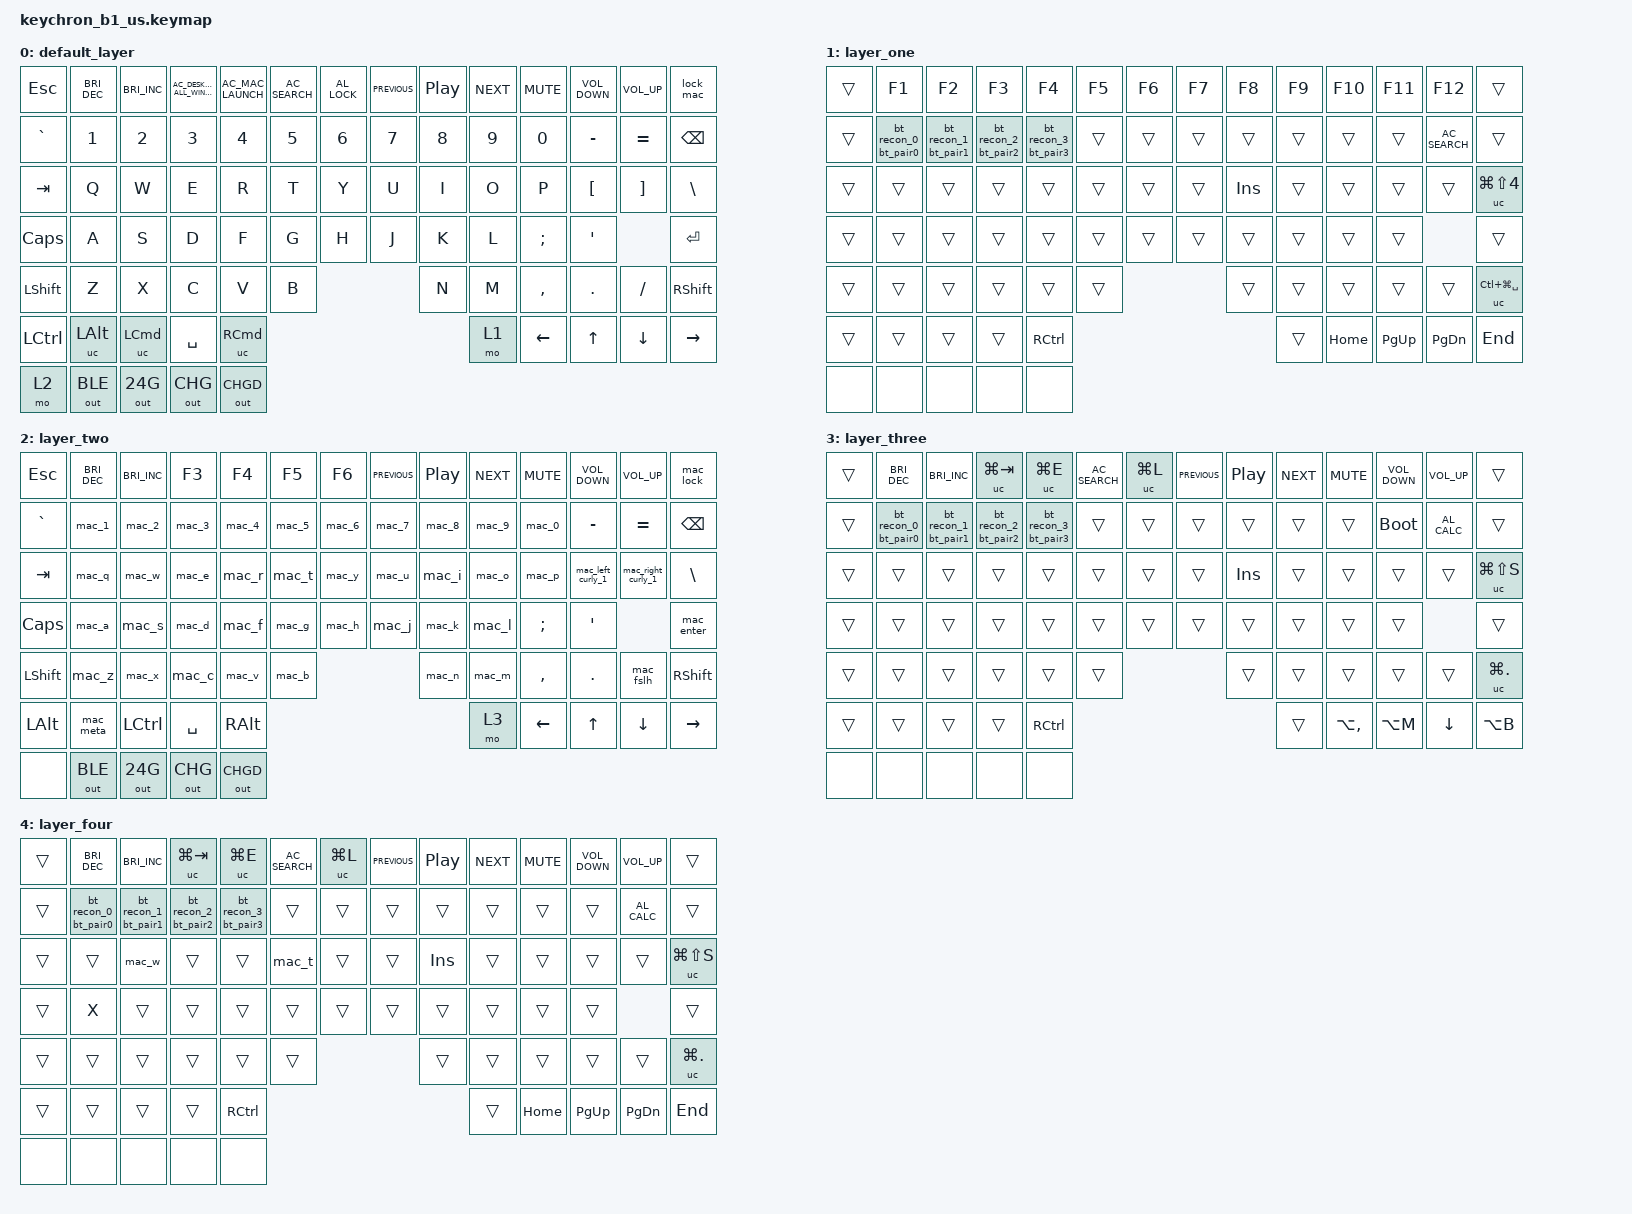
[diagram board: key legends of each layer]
/*
 * Copyright (c) 2023 The ZMK Contributors
 *
 * SPDX-License-Identifier: MIT
 */

#include <behaviors.dtsi>
#include <dt-bindings/zmk/keys.h>
#include <dt-bindings/zmk/rgb.h>
#include <dt-bindings/zmk/bt.h>
#include <dt-bindings/zmk/outputs.h>

/ {
    ZMK_MACRO(recover, bindings = <&out OUT_RECOVER>;)
    ZMK_MACRO(change, bindings = <&out OUT_FN>;)
    ZMK_MACRO(fn_win, bindings = <&out OUT_FN_WIN>;)

    ZMK_MACRO(en_bootloader, bindings = <&bootloader>;)
    ZMK_MACRO1(MA,bindings=<&kp 0x770000>;)

    long_press_recover:l1 {
        compatible = "zmk,behavior-hold-tap";
        label = "l1";
        #binding-cells = <2>;
        flavor = "tap-preferred";
        tapping-term-ms = <3000>;  // delay amount in ms
        bindings = <&recover>, <&none>;
    };

    long_press_change:l2{
        compatible = "zmk,behavior-hold-tap";
        label = "lp_change";
        #binding-cells = <2>;
        flavor = "tap-preferred";
        tapping-term-ms = <3000>;  // delay amount in ms
        bindings = <&change>, <&none>;
    };
    long_press_bootloader:l3{
        compatible = "zmk,behavior-hold-tap";
        label = "lp_bootloader";
        #binding-cells = <2>;
        flavor = "tap-preferred";
        tapping-term-ms = <3000>;  // delay amount in ms
        bindings = <&en_bootloader>, <&none>;
    };
    long_press_fn_win:l4{
        compatible = "zmk,behavior-hold-tap";
        label = "lp_fn_win";
        #binding-cells = <2>;
        flavor = "tap-preferred";
        tapping-term-ms = <3000>;   
        bindings = <&fn_win>, <&none>;
    };
   

    combos1 {
        compatible = "zmk,combos";
        combo_jz {
            timeout-ms = <1000>;
            layers = <1 3>;
            key-positions = <49 56>; //fn+j+z
            bindings = <&long_press_recover 0 0>;
        };
        combo_xl {
            timeout-ms = <1000>;
            layers =< 1 3>;
            key-positions = <57 51>; //fn+x+l
            bindings = <&long_press_change 0 0>;
        };
        combo_b {
            timeout-ms = <1000>;
            layers =< 1 3>;
            //slow-release = <true>;
            key-positions = <60>; //fn+b
            bindings = <&out OUT_BAT>;
        };

        combo_win_l {
            timeout-ms = <1000>;
            layers =< 1 3>;
            //slow-release = <true>;
            key-positions = <68>; //fn+win
            bindings = <&long_press_fn_win 0 0>;
        };

        combo_t0 {
            timeout-ms = <10 >;
            layers =<4>;
          
            key-positions = <80 90>;  
            bindings = <&to 3 >;
        };
        combo_t1 {
            timeout-ms = <10 >;
            layers =<4>;
          
            key-positions = <80 91>;  
            bindings = <&tog 3 >;
        };
        combo_t2 {
            timeout-ms = <10 >;
            layers =<4>;
          
            key-positions = <80 92>;  
            bindings = <&sl 3 >;
        };
        combo_t3 {
            timeout-ms = <10 >;
            layers =<4>;
          
            key-positions = <70 93>;  
            bindings = <&lt 3 SPACE>;
        };
        combo_t4 {
            timeout-ms = <10 >;
            layers =<4>;
          
            key-positions = <81 94>;  
            bindings = <&sk LSHIFT>;
        };
        combo_t5 {
            timeout-ms = <10 >;
            layers =<4>;
          
            key-positions = <81 93>;  
            bindings = <&mt LSHIFT SPACE>;
        };
        combo_t6 {
            timeout-ms = <10 >;
            layers =<4>;
          
            key-positions = <81 93>;  
            bindings = <&gresc>;
        };
    };

    td0 {
        compatible = "zmk,behavior-tap-dance";
        label = "TAPD_LAYER";
        #binding-cells = <1>;
        tapping-term-ms = <350>;
        bindings =<&mo 0>,<&mo 0>,<&mo 0>,<&mo 0>,<&to 0>;
    };
    ZMK_MACRO(bt_pair0, bindings = <&bt BT_PAIR 0>;)
    ZMK_MACRO(bt_pair1, bindings = <&bt BT_PAIR 1>;)
    ZMK_MACRO(bt_pair2, bindings = <&bt BT_PAIR 2>;)
    ZMK_MACRO(bt_pair3, bindings = <&bt BT_PAIR 3>;)
    ZMK_MACRO(bt_recon_0, bindings = <&bt BT_SEL 0>;)
    ZMK_MACRO(bt_recon_1, bindings = <&bt BT_SEL 1>;)
    ZMK_MACRO(bt_recon_2, bindings = <&bt BT_SEL 2>;)
    ZMK_MACRO(bt_recon_3, bindings = <&bt BT_SEL 3>;)
    


    bt_pair_0: bt_pair_0 {
        compatible = "zmk,behavior-hold-tap";
        label = "bt_pair0";
        #binding-cells = <2>;
        flavor = "tap-preferred";
        tapping-term-ms = <3000>;  // delay amount in ms
        bindings = <&bt_pair0>, <&bt_recon_0>;
    };
    bt_pair_1: bt_pair_1 {
        compatible = "zmk,behavior-hold-tap";
        label = "bt_pair1";
        #binding-cells = <2>;
        flavor = "tap-preferred";
        tapping-term-ms = <3000>;  // delay amount in ms
        bindings = <&bt_pair1>, <&bt_recon_1>;
    };
    bt_pair_2: bt_pair_2 {
        compatible = "zmk,behavior-hold-tap";
        label = "bt_pair2";
        #binding-cells = <2>;
        flavor = "tap-preferred";
        tapping-term-ms = <3000>;  // delay amount in ms
        bindings = <&bt_pair2>, <&bt_recon_2>;
    };
    bt_pair_3: bt_pair_3 {
        compatible = "zmk,behavior-hold-tap";
        label = "bt_pair3";
        #binding-cells = <2>;
        flavor = "tap-preferred";
        tapping-term-ms = <3000>;  // delay amount in ms
        bindings = <&bt_pair3>, <&bt_recon_3>;
    };
    uc:user_custom {
        compatible = "zmk,behavior-key-press";
        label ="user_custom";
        #binding-cells =<1>;
    };

    macros {
        prev_tab: prev_tab {
            compatible = "zmk,behavior-macro";
            #binding-cells = <0>;
            label = "PREV_TAB";
            bindings
                = <&macro_release &kp LCTRL>
                , <&macro_press &kp LALT>
                , <&macro_tap &kp PG_UP>
                , <&macro_release &kp LALT>
                , <&macro_press &kp LCTRL>
                ;
        };
        next_tab: next_tab {
            compatible = "zmk,behavior-macro";
            #binding-cells = <0>;
            label = "NEXT_TAB";
            bindings
                = <&macro_release &kp LCTRL>
                , <&macro_press &kp LALT>
                , <&macro_tap &kp PG_DN>
                , <&macro_release &kp LALT>
                , <&macro_press &kp LCTRL>
                ;
        };
    };

    behaviors {
        mac_a: mac_a {
            compatible = "zmk,behavior-mod-morph";
            #binding-cells = <0>;
            label = "MAC_A";
            bindings = <&kp A>, <&kp LA(A)>;
            mods = <(MOD_LCTL|MOD_RCTL)>;
        };
        mac_b: mac_b {
            compatible = "zmk,behavior-mod-morph";
            #binding-cells = <0>;
            label = "MAC_B";
            bindings = <&kp B>, <&kp LA(B)>;
            mods = <(MOD_LCTL|MOD_RCTL)>;
        };
        mac_c: mac_c {
            compatible = "zmk,behavior-mod-morph";
            #binding-cells = <0>;
            label = "MAC_C";
            bindings = <&kp C>, <&kp LA(C)>;
            mods = <(MOD_LCTL|MOD_RCTL)>;
        };
        mac_d: mac_d {
            compatible = "zmk,behavior-mod-morph";
            #binding-cells = <0>;
            label = "MAC_D";
            bindings = <&kp D>, <&kp LA(D)>;
            mods = <(MOD_LCTL|MOD_RCTL)>;
        };
        mac_e: mac_e {
            compatible = "zmk,behavior-mod-morph";
            #binding-cells = <0>;
            label = "MAC_E";
            bindings = <&kp E>, <&kp LA(E)>;
            mods = <(MOD_LCTL|MOD_RCTL)>;
        };
        mac_f: mac_f {
            compatible = "zmk,behavior-mod-morph";
            #binding-cells = <0>;
            label = "MAC_F";
            bindings = <&kp F>, <&kp LA(F)>;
            mods = <(MOD_LCTL|MOD_RCTL)>;
        };
        mac_g: mac_g {
            compatible = "zmk,behavior-mod-morph";
            #binding-cells = <0>;
            label = "MAC_G";
            bindings = <&kp G>, <&kp RET>;
            mods = <(MOD_LCTL|MOD_RCTL)>;
        };
        mac_h: mac_h {
            compatible = "zmk,behavior-mod-morph";
            #binding-cells = <0>;
            label = "MAC_H";
            bindings = <&kp H>, <&kp LA(H)>;
            mods = <(MOD_LCTL|MOD_RCTL)>;
        };
        mac_i: mac_i {
            compatible = "zmk,behavior-mod-morph";
            #binding-cells = <0>;
            label = "MAC_I";
            bindings = <&kp I>, <&kp LA(I)>;
            mods = <(MOD_LCTL|MOD_RCTL)>;
        };
        mac_j: mac_j {
            compatible = "zmk,behavior-mod-morph";
            #binding-cells = <0>;
            label = "MAC_J";
            bindings = <&kp J>, <&kp LA(J)>;
            mods = <(MOD_LCTL|MOD_RCTL)>;
        };
        mac_k: mac_k {
            compatible = "zmk,behavior-mod-morph";
            #binding-cells = <0>;
            label = "MAC_K";
            bindings = <&kp K>, <&kp LA(K)>;
            mods = <(MOD_LCTL|MOD_RCTL)>;
        };
        mac_l: mac_l {
            compatible = "zmk,behavior-mod-morph";
            #binding-cells = <0>;
            label = "MAC_L";
            bindings = <&kp L>, <&kp LA(L)>;
            mods = <(MOD_LCTL|MOD_RCTL)>;
        };
        mac_m: mac_m {
            compatible = "zmk,behavior-mod-morph";
            #binding-cells = <0>;
            label = "MAC_M";
            bindings = <&kp M>, <&kp LA(M)>;
            mods = <(MOD_LCTL|MOD_RCTL)>;
        };
        mac_n: mac_n {
            compatible = "zmk,behavior-mod-morph";
            #binding-cells = <0>;
            label = "MAC_N";
            bindings = <&kp N>, <&kp LA(N)>;
            mods = <(MOD_LCTL|MOD_RCTL)>;
        };
        mac_o: mac_o {
            compatible = "zmk,behavior-mod-morph";
            #binding-cells = <0>;
            label = "MAC_O";
            bindings = <&kp O>, <&kp LA(O)>;
            mods = <(MOD_LCTL|MOD_RCTL)>;
        };
        mac_p: mac_p {
            compatible = "zmk,behavior-mod-morph";
            #binding-cells = <0>;
            label = "MAC_P";
            bindings = <&kp P>, <&kp LA(P)>;
            mods = <(MOD_LCTL|MOD_RCTL)>;
        };
        mac_q: mac_q {
            compatible = "zmk,behavior-mod-morph";
            #binding-cells = <0>;
            label = "MAC_Q";
            bindings = <&kp Q>, <&kp LA(Q)>;
            mods = <(MOD_LCTL|MOD_RCTL)>;
        };
        mac_r: mac_r {
            compatible = "zmk,behavior-mod-morph";
            #binding-cells = <0>;
            label = "MAC_R";
            bindings = <&kp R>, <&kp LA(R)>;
            mods = <(MOD_LCTL|MOD_RCTL)>;
        };
        mac_s: mac_s {
            compatible = "zmk,behavior-mod-morph";
            #binding-cells = <0>;
            label = "MAC_S";
            bindings = <&kp S>, <&kp LA(S)>;
            mods = <(MOD_LCTL|MOD_RCTL)>;
        };
        mac_t: mac_t {
            compatible = "zmk,behavior-mod-morph";
            #binding-cells = <0>;
            label = "MAC_T";
            bindings = <&kp T>, <&kp LA(T)>;
            mods = <(MOD_LCTL|MOD_RCTL)>;
        };
        mac_u: mac_u {
            compatible = "zmk,behavior-mod-morph";
            #binding-cells = <0>;
            label = "MAC_U";
            bindings = <&kp U>, <&kp LA(U)>;
            mods = <(MOD_LCTL|MOD_RCTL)>;
        };
        mac_v: mac_v {
            compatible = "zmk,behavior-mod-morph";
            #binding-cells = <0>;
            label = "MAC_V";
            bindings = <&kp V>, <&kp LA(V)>;
            mods = <(MOD_LCTL|MOD_RCTL)>;
        };
        mac_w: mac_w {
            compatible = "zmk,behavior-mod-morph";
            #binding-cells = <0>;
            label = "MAC_W";
            bindings = <&kp W>, <&kp LA(W)>;
            mods = <(MOD_LCTL|MOD_RCTL)>;
        };
        mac_x: mac_x {
            compatible = "zmk,behavior-mod-morph";
            #binding-cells = <0>;
            label = "MAC_X";
            bindings = <&kp X>, <&kp LA(X)>;
            mods = <(MOD_LCTL|MOD_RCTL)>;
        };
        mac_y: mac_y {
            compatible = "zmk,behavior-mod-morph";
            #binding-cells = <0>;
            label = "MAC_Y";
            bindings = <&kp Y>, <&kp LA(Y)>;
            mods = <(MOD_LCTL|MOD_RCTL)>;
        };
        mac_z: mac_z {
            compatible = "zmk,behavior-mod-morph";
            #binding-cells = <0>;
            label = "MAC_Z";
            bindings = <&kp Z>, <&kp LA(Z)>;
            mods = <(MOD_LCTL|MOD_RCTL)>;
        };
        mac_1: mac_1 {
            compatible = "zmk,behavior-mod-morph";
            #binding-cells = <0>;
            label = "MAC_1";
            bindings = <&kp N1>, <&kp LA(N1)>;
            mods = <(MOD_LCTL|MOD_RCTL)>;
        };
        mac_2: mac_2 {
            compatible = "zmk,behavior-mod-morph";
            #binding-cells = <0>;
            label = "MAC_2";
            bindings = <&kp N2>, <&kp LA(N2)>;
            mods = <(MOD_LCTL|MOD_RCTL)>;
        };
        mac_3: mac_3 {
            compatible = "zmk,behavior-mod-morph";
            #binding-cells = <0>;
            label = "MAC_3";
            bindings = <&kp N3>, <&kp LA(N3)>;
            mods = <(MOD_LCTL|MOD_RCTL)>;
        };
        mac_4: mac_4 {
            compatible = "zmk,behavior-mod-morph";
            #binding-cells = <0>;
            label = "MAC_4";
            bindings = <&kp N4>, <&kp LA(N4)>;
            mods = <(MOD_LCTL|MOD_RCTL)>;
        };
        mac_5: mac_5 {
            compatible = "zmk,behavior-mod-morph";
            #binding-cells = <0>;
            label = "MAC_5";
            bindings = <&kp N5>, <&kp LA(N5)>;
            mods = <(MOD_LCTL|MOD_RCTL)>;
        };
        mac_6: mac_6 {
            compatible = "zmk,behavior-mod-morph";
            #binding-cells = <0>;
            label = "MAC_6";
            bindings = <&kp N6>, <&kp LA(N6)>;
            mods = <(MOD_LCTL|MOD_RCTL)>;
        };
        mac_7: mac_7 {
            compatible = "zmk,behavior-mod-morph";
            #binding-cells = <0>;
            label = "MAC_7";
            bindings = <&kp N7>, <&kp LA(N7)>;
            mods = <(MOD_LCTL|MOD_RCTL)>;
        };
        mac_8: mac_8 {
            compatible = "zmk,behavior-mod-morph";
            #binding-cells = <0>;
            label = "MAC_8";
            bindings = <&kp N8>, <&kp LA(N8)>;
            mods = <(MOD_LCTL|MOD_RCTL)>;
        };
        mac_9: mac_9 {
            compatible = "zmk,behavior-mod-morph";
            #binding-cells = <0>;
            label = "MAC_9";
            bindings = <&kp N9>, <&kp LA(N9)>;
            mods = <(MOD_LCTL|MOD_RCTL)>;
        };
        mac_0: mac_0 {
            compatible = "zmk,behavior-mod-morph";
            #binding-cells = <0>;
            label = "MAC_0";
            bindings = <&kp N0>, <&kp LA(N0)>;
            mods = <(MOD_LCTL|MOD_RCTL)>;
        };
        mac_lock: mac_lock {
            compatible = "zmk,behavior-mod-morph";
            #binding-cells = <0>;
            label = "MAC_LOCK";
            bindings = <&kp DEL>, <&kp LA(LS(L))>;
            mods = <(MOD_LCTL|MOD_RCTL)>;
        };
        mac_left_curly_2: mac_left_curly_2 {
            compatible = "zmk,behavior-mod-morph";
            #binding-cells = <0>;
            label = "MAC_LEFT_CURLY_2";
            bindings = <&kp A>, <&prev_tab>;
            mods = <(MOD_LSFT|MOD_RSFT)>;
        };
        mac_left_curly_1: mac_left_curly_1 {
            compatible = "zmk,behavior-mod-morph";
            #binding-cells = <0>;
            label = "MAC_LEFT_CURLY_1";
            bindings = <&kp LBKT>, <&mac_left_curly_2>;
            mods = <(MOD_LCTL|MOD_RCTL)>;
        };
        mac_right_curly_2: mac_right_curly_2 {
            compatible = "zmk,behavior-mod-morph";
            #binding-cells = <0>;
            label = "MAC_RIGHT_CURLY_2";
            bindings = <&kp A>, <&next_tab>;
            mods = <(MOD_LSFT|MOD_RSFT)>;
        };
        mac_right_curly_1: mac_right_curly_1 {
            compatible = "zmk,behavior-mod-morph";
            #binding-cells = <0>;
            label = "MAC_RIGHT_CURLY_1";
            bindings = <&kp RBKT>, <&mac_right_curly_2>;
            mods = <(MOD_LCTL|MOD_RCTL)>;
        };
        mac_right_curly: mac_right_curly {
            compatible = "zmk,behavior-mod-morph";
            #binding-cells = <0>;
            label = "MAC_RIGHT_CURLY";
            bindings = <&kp RBKT>, <&kp LA(PG_DN)>;
            mods = <(MOD_LSFT|MOD_RSFT)>;
        };
        mac_meta: mac_meta {
            compatible = "zmk,behavior-mod-morph";
            #binding-cells = <0>;
            label = "MAC_META";
            bindings = <&kp RCTRL>, <&mo 3>;
            mods = <(MOD_LCTL|MOD_RCTL)>;
        }; 
        morph_BC: morph_BC {
            compatible = "zmk,behavior-mod-morph";
            #binding-cells = <0>;
            label = "mBC";
            bindings = <&kp B>, <&kp C>;
            mods = <(MOD_LSFT|MOD_RSFT)>;
            keep-mods = <(MOD_RSFT)>;
        };
        morph_ABC: morph_ABC {
            compatible = "zmk,behavior-mod-morph";
            #binding-cells = <0>;
            label = "mABC";
            bindings = <&kp A>, <&morph_BC>;
            mods = <(MOD_LCTL|MOD_RCTL)>;
            keep-mods = <(MOD_RCTL)>;
        };
        mac_enter: mac_enter {
            compatible = "zmk,behavior-mod-morph";
            #binding-cells = <0>;
            label = "MAC_ENTER";
            bindings = <&kp RET>, <&kp LA(RET)>;
            mods = <(MOD_LCTL|MOD_RCTL)>;
        };
        mac_fslh: mac_fslh {
            compatible = "zmk,behavior-mod-morph";
            #binding-cells = <0>;
            label = "MAC_FSLH";
            bindings = <&kp FSLH>, <&kp LA(FSLH)>;
            mods = <(MOD_LCTL|MOD_RCTL)>;
        };
        lock_mac: lock_mac {
            compatible = "zmk,behavior-mod-morph";
            #binding-cells = <0>;
            label = "MAC_FSLH";
            bindings = <&kp DEL>, <&kp LG(LC(Q))>;
            mods = <(MOD_LGUI|MOD_RGUI)>;
        };
    };

	keymap {
    	compatible = "zmk,keymap";
            //mac
        default_layer {
        bindings = <
          //ESC         //f1                    //f2                //f3                                    //f4                //f5                //f6            //f7            //f8                //f9        //f10       //f11               //f12               //DEL                                              
        &kp ESC     &kp C_BRIGHTNESS_DEC    &kp C_BRIGHTNESS_INC    &kp C_AC_DESKTOP_SHOW_ALL_WINDOWS   &kp  C_AC_MAC_LAUNCH    &kp C_AC_SEARCH     &kp C_AL_LOCK   &kp C_PREVIOUS  &kp C_PLAY_PAUSE    &kp C_NEXT  &kp C_MUTE  &kp C_VOLUME_DOWN   &kp C_VOLUME_UP     &lock_mac
        &kp GRAVE   &kp N1                  &kp N2                  &kp N3                              &kp N4                  &kp N5              &kp N6          &kp N7          &kp N8              &kp N9      &kp N0      &kp MINUS           &kp EQUAL           &kp BSPC 
        &kp TAB     &kp Q                   &kp W                   &kp E                               &kp R                   &kp T               &kp Y           &kp U           &kp I               &kp O       &kp P       &kp LBKT            &kp RBKT            &kp BSLH      
        &kp CLCK    &kp A                   &kp S                   &kp D                               &kp F                   &kp G               &kp H           &kp J           &kp K               &kp L       &kp SEMI    &kp SQT                         &kp RET                                         
        &kp LSHFT   &kp Z                   &kp X                   &kp C                               &kp V                   &kp B               &kp N           &kp M           &kp COMMA           &kp DOT     &kp FSLH                                    &kp RSHFT 
        &kp LCTRL   &uc LALT                &uc LCMD                       &kp SPACE                                                                                                &uc RCMD            &mo 1       &kp LEFT    &kp UP              &kp DOWN            &kp RIGHT   
        &mo 2       &out OUT_BLE            &out OUT_24G            &out OUT_CHG                        &out OUT_CHGD 
            >;
        };
        //mac
        layer_one  {
        bindings = < 
        &trans      &kp F1                  &kp F2                  &kp F3                              &kp F4                  &kp F5              &kp F6          &kp F7          &kp F8              &kp F9      &kp F10     &kp F11             &kp F12             &trans    
        &trans      &bt_pair_0 0 0          &bt_pair_1 0 0          &bt_pair_2 0 0                      &bt_pair_3 0 0          &trans              &trans          &trans          &trans              &trans      &trans      &trans              &kp C_AC_SEARCH     &trans      
        &trans      &trans                  &trans                  &trans                              &trans                  &trans              &trans          &trans          &kp INS             &trans      &trans      &trans              &trans              &uc LG(LS(N4))
        &trans      &trans                  &trans                  &trans                              &trans                  &trans              &trans          &trans          &trans              &trans      &trans      &trans                      &trans                  
        &trans      &trans                  &trans                  &trans                              &trans                  &trans              &trans          &trans          &trans              &trans      &trans                                  &uc LC(LG(SPACE))
        &trans      &trans                  &trans                         &trans                                                                                                   &kp RCTRL           &trans        &kp HOME   &kp PG_UP   &kp PG_DN    &kp END  
        //
        &none       &none                   &none                   &none                               &none
            >;
        };
        //win - Default Chromebook layer
        layer_two {
 		bindings = <
        &kp ESC 	&kp C_BRIGHTNESS_DEC   &kp C_BRIGHTNESS_INC     &kp F3 	                            &kp F4 	                &kp F5 	            &kp F6 	        &kp C_PREVIOUS  &kp C_PLAY_PAUSE    &kp C_NEXT  &kp C_MUTE  &kp C_VOLUME_DOWN    &kp C_VOLUME_UP 	 &mac_lock    
        &kp GRAVE	&mac_1 	               &mac_2 	                &mac_3 	                            &mac_4 	                &mac_5 	            &mac_6 	        &mac_7 	        &mac_8 	            &mac_9 	     &mac_0     &kp MINUS 	         &kp EQUAL 	         &kp BSPC
        &kp TAB 	&mac_q 	               &mac_w                   &mac_e 	                            &mac_r 	                &mac_t              &mac_y 	        &mac_u 	        &mac_i 	            &mac_o 	     &mac_p 	&mac_left_curly_1    &mac_right_curly_1  &kp BSLH 	 	
        &kp CLCK 	&mac_a 	               &mac_s 	                &mac_d 	                            &mac_f 	                &mac_g 	            &mac_h 	        &mac_j 	        &mac_k 	            &mac_l 	     &kp SEMI 	&kp SQT                      &mac_enter
        &kp LSHFT   &mac_z 	               &mac_x 	                &mac_c 	                            &mac_v 	                &mac_b 	            &mac_n 	        &mac_m 	        &kp COMMA           &kp DOT      &mac_fslh                               &kp RSHFT				
        &kp LALT 	&mac_meta              &kp LCTRL                      &kp SPACE              		                                                                            &kp RALT 	        &mo 3 		  &kp LEFT 	 &kp UP      &kp DOWN 	&kp RIGHT 	
        //
        &none       &out OUT_BLE           &out OUT_24G             &out OUT_CHG                        &out OUT_CHGD 
            >;
        };
        //win
        layer_three {
        bindings = < 
                    //f1                    //f2                    //f3                                //f4                        //f5            //f6              //f7            //f8              //f9        //f10           //f11                         //f12                     
        &trans  &kp C_BRIGHTNESS_DEC    &kp C_BRIGHTNESS_INC        &uc LG(TAB)                         &uc LG(E)               &kp C_AC_SEARCH     &uc LG(L)       &kp C_PREVIOUS  &kp C_PLAY_PAUSE    &kp C_NEXT  &kp C_MUTE  &kp C_VOLUME_DOWN           &kp C_VOLUME_UP      &trans   
        &trans  &bt_pair_0 0 0          &bt_pair_1 0 0              &bt_pair_2 0 0                      &bt_pair_3 0 0          &trans              &trans          &trans          &trans              &trans      &trans      &bootloader                 &kp C_AL_CALC        &trans          
        &trans  &trans                  &trans                      &trans                              &trans                  &trans              &trans          &trans          &kp INS             &trans      &trans      &trans                      &trans               &uc LG(LS(S))      
        &trans  &trans                  &trans                      &trans                              &trans                  &trans              &trans          &trans          &trans              &trans      &trans      &trans                              &trans  
        &trans  &trans                  &trans                      &trans                              &trans                  &trans              &trans          &trans          &trans              &trans      &trans                                          &uc LG(DOT) 
        &trans  &trans                  &trans                           &trans                                                                                                     &kp RCTRL           &trans      &kp LA(COMMA)    &kp LA(M)    &kp DOWN   &kp LA(B)    
        //
        &none   &none                   &none                       &none                               &none
            >;
        };
        //win
        layer_four {
        bindings = < 
                    //f1                    //f2                    //f3                                //f4                        //f5            //f6              //f7            //f8              //f9        //f10           //f11                         //f12                     
        &trans  &kp C_BRIGHTNESS_DEC    &kp C_BRIGHTNESS_INC        &uc LG(TAB)                         &uc LG(E)               &kp C_AC_SEARCH     &uc LG(L)       &kp C_PREVIOUS  &kp C_PLAY_PAUSE    &kp C_NEXT  &kp C_MUTE  &kp C_VOLUME_DOWN           &kp C_VOLUME_UP      &trans   
        &trans  &bt_pair_0 0 0          &bt_pair_1 0 0              &bt_pair_2 0 0                      &bt_pair_3 0 0          &trans              &trans          &trans          &trans              &trans      &trans      &trans                      &kp C_AL_CALC        &trans          
        &trans  &trans                  &mac_w                      &trans                              &trans                  &mac_t              &trans          &trans          &kp INS             &trans      &trans      &trans                      &trans               &uc LG(LS(S))      
        &trans  &kp X                   &trans                      &trans                              &trans                  &trans              &trans          &trans          &trans              &trans      &trans      &trans                              &trans  
        &trans  &trans                  &trans                      &trans                              &trans                  &trans              &trans          &trans          &trans              &trans      &trans                                          &uc LG(DOT) 
        &trans  &trans                  &trans                           &trans                                                                                                     &kp RCTRL           &trans      &kp HOME    &kp PG_UP    &kp PG_DN   &kp END    
        //
        &none   &none                   &none                       &none                               &none
            >;
        };
   

    	
    
	};
};

	
